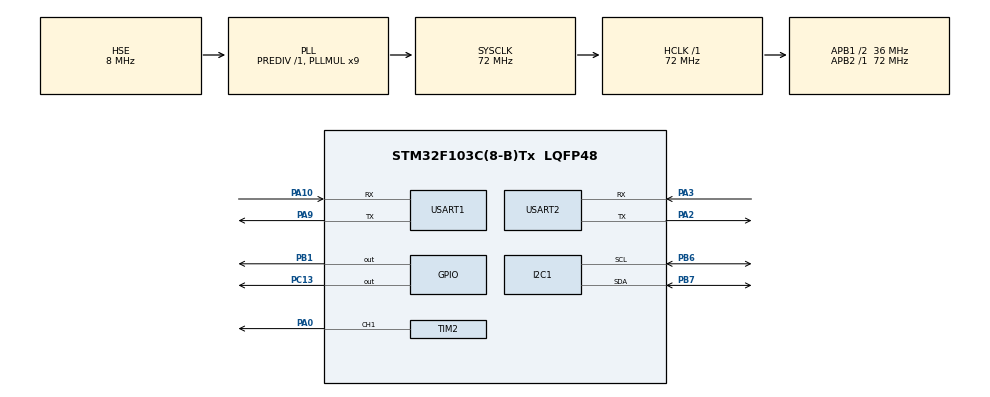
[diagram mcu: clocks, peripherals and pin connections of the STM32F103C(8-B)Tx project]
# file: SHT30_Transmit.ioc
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ADC1.Channel-0\#ChannelRegularConversion=ADC_CHANNEL_TEMPSENSOR
ADC1.ContinuousConvMode=ENABLE
ADC1.NbrOfConversionFlag=1
ADC1.Rank-0\#ChannelRegularConversion=1
ADC1.SamplingTime-0\#ChannelRegularConversion=ADC_SAMPLETIME_71CYCLES_5
ADC1.master=1
Dma.Request0=USART1_RX
Dma.Request1=USART1_TX
Dma.USART1_RX.0.Direction=DMA_PERIPH_TO_MEMORY
Dma.USART1_RX.0.Instance=DMA1_Channel5
Dma.USART1_RX.0.MemDataAlignment=DMA_MDATAALIGN_BYTE
Dma.USART1_RX.0.MemInc=DMA_MINC_ENABLE
Dma.USART1_RX.0.Mode=DMA_NORMAL
Dma.USART1_RX.0.PeriphDataAlignment=DMA_PDATAALIGN_BYTE
Dma.USART1_RX.0.PeriphInc=DMA_PINC_DISABLE
Dma.USART1_RX.0.Priority=DMA_PRIORITY_MEDIUM
Dma.USART1_TX.1.Direction=DMA_MEMORY_TO_PERIPH
Dma.USART1_TX.1.Instance=DMA1_Channel4
Dma.USART1_TX.1.MemDataAlignment=DMA_MDATAALIGN_BYTE
Dma.USART1_TX.1.MemInc=DMA_MINC_ENABLE
Dma.USART1_TX.1.Mode=DMA_NORMAL
Dma.USART1_TX.1.PeriphDataAlignment=DMA_PDATAALIGN_BYTE
Dma.USART1_TX.1.PeriphInc=DMA_PINC_DISABLE
Dma.USART1_TX.1.Priority=DMA_PRIORITY_MEDIUM
Mcu.Family=STM32F1
Mcu.Name=STM32F103C(8-B)Tx
Mcu.Package=LQFP48
NVIC.DMA1_Channel4_IRQn=true\:0\:0\:false\:false\:true\:false\:true
NVIC.DMA1_Channel5_IRQn=true\:0\:0\:false\:false\:true\:false\:true
NVIC.PriorityGroup=NVIC_PRIORITYGROUP_4
NVIC.TIM2_IRQn=true\:0\:0\:false\:false\:true\:true\:true
NVIC.USART1_IRQn=true\:0\:0\:false\:false\:true\:true\:true
NVIC.USART2_IRQn=true\:0\:0\:false\:false\:true\:true\:true
PA0-WKUP.Signal=S_TIM2_CH1_ETR
PA10.Mode=Asynchronous
PA10.Signal=USART1_RX
PA13.Mode=Serial_Wire
PA13.Signal=SYS_JTMS-SWDIO
PA14.Mode=Serial_Wire
PA14.Signal=SYS_JTCK-SWCLK
PA2.Mode=Asynchronous
PA2.Signal=USART2_TX
PA3.Mode=Asynchronous
PA3.Signal=USART2_RX
PA9.Mode=Asynchronous
PA9.Signal=USART1_TX
PB1.Signal=GPIO_Output
PB6.Mode=I2C
PB6.Signal=I2C1_SCL
PB7.Mode=I2C
PB7.Signal=I2C1_SDA
PC13-TAMPER-RTC.PinState=GPIO_PIN_SET
PC13-TAMPER-RTC.Signal=GPIO_Output
PC14-OSC32_IN.Mode=LSE-External-Oscillator
PC14-OSC32_IN.Signal=RCC_OSC32_IN
PC15-OSC32_OUT.Mode=LSE-External-Oscillator
PC15-OSC32_OUT.Signal=RCC_OSC32_OUT
PD0-OSC_IN.Mode=HSE-External-Oscillator
PD0-OSC_IN.Signal=RCC_OSC_IN
PD1-OSC_OUT.Mode=HSE-External-Oscillator
PD1-OSC_OUT.Signal=RCC_OSC_OUT
ProjectManager.HeapSize=0x200
ProjectManager.StackSize=0x400
ProjectManager.TargetToolchain=MDK-ARM V5
RCC.ADCPresc=RCC_ADCPCLK2_DIV6
RCC.AHBFreq_Value=72000000
RCC.APB1CLKDivider=RCC_HCLK_DIV2
RCC.APB1Freq_Value=36000000
RCC.APB1TimFreq_Value=72000000
RCC.APB2Freq_Value=72000000
RCC.APB2TimFreq_Value=72000000
RCC.HCLKFreq_Value=72000000
RCC.PLLMUL=RCC_PLL_MUL9
RCC.PLLSourceVirtual=RCC_PLLSOURCE_HSE
RCC.SYSCLKFreq_VALUE=72000000
RCC.SYSCLKSource=RCC_SYSCLKSOURCE_PLLCLK
RCC.USBFreq_Value=72000000
SH.S_TIM2_CH1_ETR.0=TIM2_CH1,PWM Generation1 CH1
TIM2.Channel-PWM\ Generation1\ CH1=TIM_CHANNEL_1
TIM2.Period=20000
TIM2.Prescaler=71
TIM2.TIM_MasterSlaveMode=TIM_MASTERSLAVEMODE_ENABLE
USART1.VirtualMode=VM_ASYNC
USART2.VirtualMode=VM_ASYNC
VP_ADC1_TempSens_Input.Mode=IN-TempSens
VP_TIM2_VS_ClockSourceINT.Mode=Internal
board=custom

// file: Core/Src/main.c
/* USER CODE BEGIN Header */
/**
  ******************************************************************************
  * @file           : main.c
  * @brief          : Main program body
  ******************************************************************************
  * @attention
  *
  * Copyright (c) 2022 STMicroelectronics.
  * All rights reserved.
  *
  * This software is licensed under terms that can be found in the LICENSE file
  * in the root directory of this software component.
  * If no LICENSE file comes with this software, it is provided AS-IS.
  *
  ******************************************************************************
  */
/* USER CODE END Header */
#include "main.h"
#include "adc.h"
#include "dma.h"
#include "i2c.h"
#include "tim.h"
#include "usart.h"
#include "gpio.h"

/* USER CODE BEGIN Includes */
#include <stdio.h>
#include <string.h>
#include "sht30_i2c_driver.h"
/* USER CODE END Includes */

/* USER CODE BEGIN PV */
extern uint8_t I2CRXBuffer[6];
uint8_t dataone[7] = {0x01,0x06,0x00,0x00,0x08,0x88,0x0c};
uint8_t rebuffer[10];
/* USER CODE END PV */

void SystemClock_Config(void);

int main(void)
{
  /* USER CODE BEGIN 1 */
  int i;
  /* USER CODE END 1 */

  /* MCU Configuration--------------------------------------------------------*/

  /* Reset of all peripherals, Initializes the Flash interface and the Systick. */
  HAL_Init();

  /* USER CODE BEGIN Init */
  memset(I2CRXBuffer,0,sizeof(I2CRXBuffer));
  /* USER CODE END Init */

  /* Configure the system clock */
  SystemClock_Config();

  /* Initialize all configured peripherals */
  MX_GPIO_Init();
  MX_I2C1_Init();
  MX_USART1_UART_Init();
  MX_ADC1_Init();
  MX_TIM2_Init();
  MX_DMA_Init();
  MX_USART2_UART_Init();
  /* USER CODE BEGIN 2 */
  //  HAL_Delay(100);

  //设置串口空闲中断
  __HAL_UART_ENABLE_IT(&huart1,UART_IT_RXNE);
  __HAL_UART_ENABLE_IT(&huart1,UART_IT_IDLE);
  __HAL_UART_CLEAR_IDLEFLAG(&huart1);
  //开启第一次DMA接收
  HAL_UART_Transmit_DMA(&huart1,rx_buffer,rxbuffersize);
  /* USER CODE END 2 */

  /* Infinite loop */
  /* USER CODE BEGIN WHILE */
  while (1)
  {
    HAL_GPIO_WritePin(GPIOC,GPIO_PIN_13,GPIO_PIN_SET);
    HAL_Delay(2000);

    // Measure_TR();

    // InsideTemperature();

    //串口中断接收函数测试
    // HAL_UART_Receive_IT(&huart1,rebuffer,6);
    // if (rebuffer[0] == 0x11 && rebuffer[1] == 0x22 && rebuffer[2] == 0x33 && rebuffer[3] == 0x44 && rebuffer[4] == 0x55 && rebuffer[5] == 0x66)
    // {
    //   HAL_UART_Transmit(&huart1,dataone,sizeof(dataone),0xFFFF);
    //   memset(rebuffer,0,sizeof(rebuffer));
    // }

    for (i=0;i<20;i++)
    {
    HAL_GPIO_TogglePin(GPIOC,GPIO_PIN_13);
    HAL_Delay(50);
    }

    /* USER CODE END WHILE */

  }
}

void SystemClock_Config(void)
{
  RCC_OscInitTypeDef RCC_OscInitStruct = {0};
  RCC_ClkInitTypeDef RCC_ClkInitStruct = {0};
  RCC_PeriphCLKInitTypeDef PeriphClkInit = {0};

  /** Initializes the RCC Oscillators according to the specified parameters
  * in the RCC_OscInitTypeDef structure.
  */
  RCC_OscInitStruct.OscillatorType = RCC_OSCILLATORTYPE_HSE;
  RCC_OscInitStruct.HSEState = RCC_HSE_ON;
  RCC_OscInitStruct.HSEPredivValue = RCC_HSE_PREDIV_DIV1;
  RCC_OscInitStruct.HSIState = RCC_HSI_ON;
  RCC_OscInitStruct.PLL.PLLState = RCC_PLL_ON;
  RCC_OscInitStruct.PLL.PLLSource = RCC_PLLSOURCE_HSE;
  RCC_OscInitStruct.PLL.PLLMUL = RCC_PLL_MUL9;
  if (HAL_RCC_OscConfig(&RCC_OscInitStruct) != HAL_OK)
  {
    Error_Handler();
  }
  /** Initializes the CPU, AHB and APB buses clocks
  */
  RCC_ClkInitStruct.ClockType = RCC_CLOCKTYPE_HCLK|RCC_CLOCKTYPE_SYSCLK
                              |RCC_CLOCKTYPE_PCLK1|RCC_CLOCKTYPE_PCLK2;
  RCC_ClkInitStruct.SYSCLKSource = RCC_SYSCLKSOURCE_PLLCLK;
  RCC_ClkInitStruct.AHBCLKDivider = RCC_SYSCLK_DIV1;
  RCC_ClkInitStruct.APB1CLKDivider = RCC_HCLK_DIV2;
  RCC_ClkInitStruct.APB2CLKDivider = RCC_HCLK_DIV1;

  if (HAL_RCC_ClockConfig(&RCC_ClkInitStruct, FLASH_LATENCY_2) != HAL_OK)
  {
    Error_Handler();
  }
  PeriphClkInit.PeriphClockSelection = RCC_PERIPHCLK_ADC;
  PeriphClkInit.AdcClockSelection = RCC_ADCPCLK2_DIV6;
  if (HAL_RCCEx_PeriphCLKConfig(&PeriphClkInit) != HAL_OK)
  {
    Error_Handler();
  }
}

void Error_Handler(void)
{
  __disable_irq();
  while (1)
  {
  }
}
